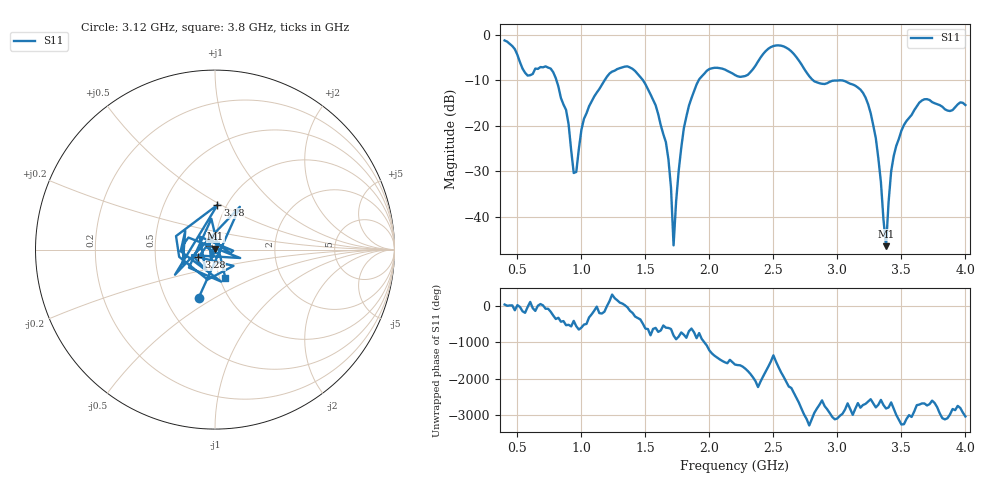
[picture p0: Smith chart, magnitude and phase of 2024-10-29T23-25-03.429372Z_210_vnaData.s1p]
!Created with skrf (http://scikit-rf.org).
# Hz S RI R 50.0
!freq ReS11 ImS11
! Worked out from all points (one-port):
!   181 points, 400 MHz to 4 GHz, reference 50 ohm
!   lowest |S11| = -46.5 dB at 3.38 GHz (marker M1), VSWR 1.01, Z = 50.2 + j0.43 ohm
!   |S11| at or under -10 dB: 804.9 MHz to 1.182 GHz (376.7 MHz wide, 37.9 % of centre); 1.481 GHz to 1.916 GHz (435.4 MHz wide, 25.6 % of centre); 2.81 GHz to end of sweep
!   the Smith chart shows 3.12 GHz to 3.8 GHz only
!   S11 on the Smith chart (normalised r, x): 3.12 GHz: 0.73, -0.43; 3.18 GHz: 0.91, +0.48; 3.28 GHz: 0.83, -0.07; 3.8 GHz: 1.06, -0.35
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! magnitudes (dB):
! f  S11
! 400 MHz  -1.3
! 580 MHz  -9.0
! 760 MHz  -7.4
! 860 MHz  -15.3
! 960 MHz  -30.2
! 1 GHz  -20.9
! 1.06 GHz  -15.7
! 1.3 GHz  -7.3
! 1.58 GHz  -15.5
! 1.68 GHz  -27.4
! 1.72 GHz  -46.3
! 1.76 GHz  -29.9
! 1.82 GHz  -18.0
! 1.92 GHz  -9.8
! 2.2 GHz  -8.9
! 2.5 GHz  -2.5
! 2.66 GHz  -4.2
! 2.82 GHz  -10.2
! 3.1 GHz  -10.8
! 3.12 GHz  -10.9
! 3.18 GHz  -12.1
! 3.28 GHz  -19.9
! 3.34 GHz  -32.4
! 3.38 GHz  -46.5
! 3.44 GHz  -26.7
! 3.56 GHz  -18.3
! 3.8 GHz  -15.5
! 4 GHz  -15.5
